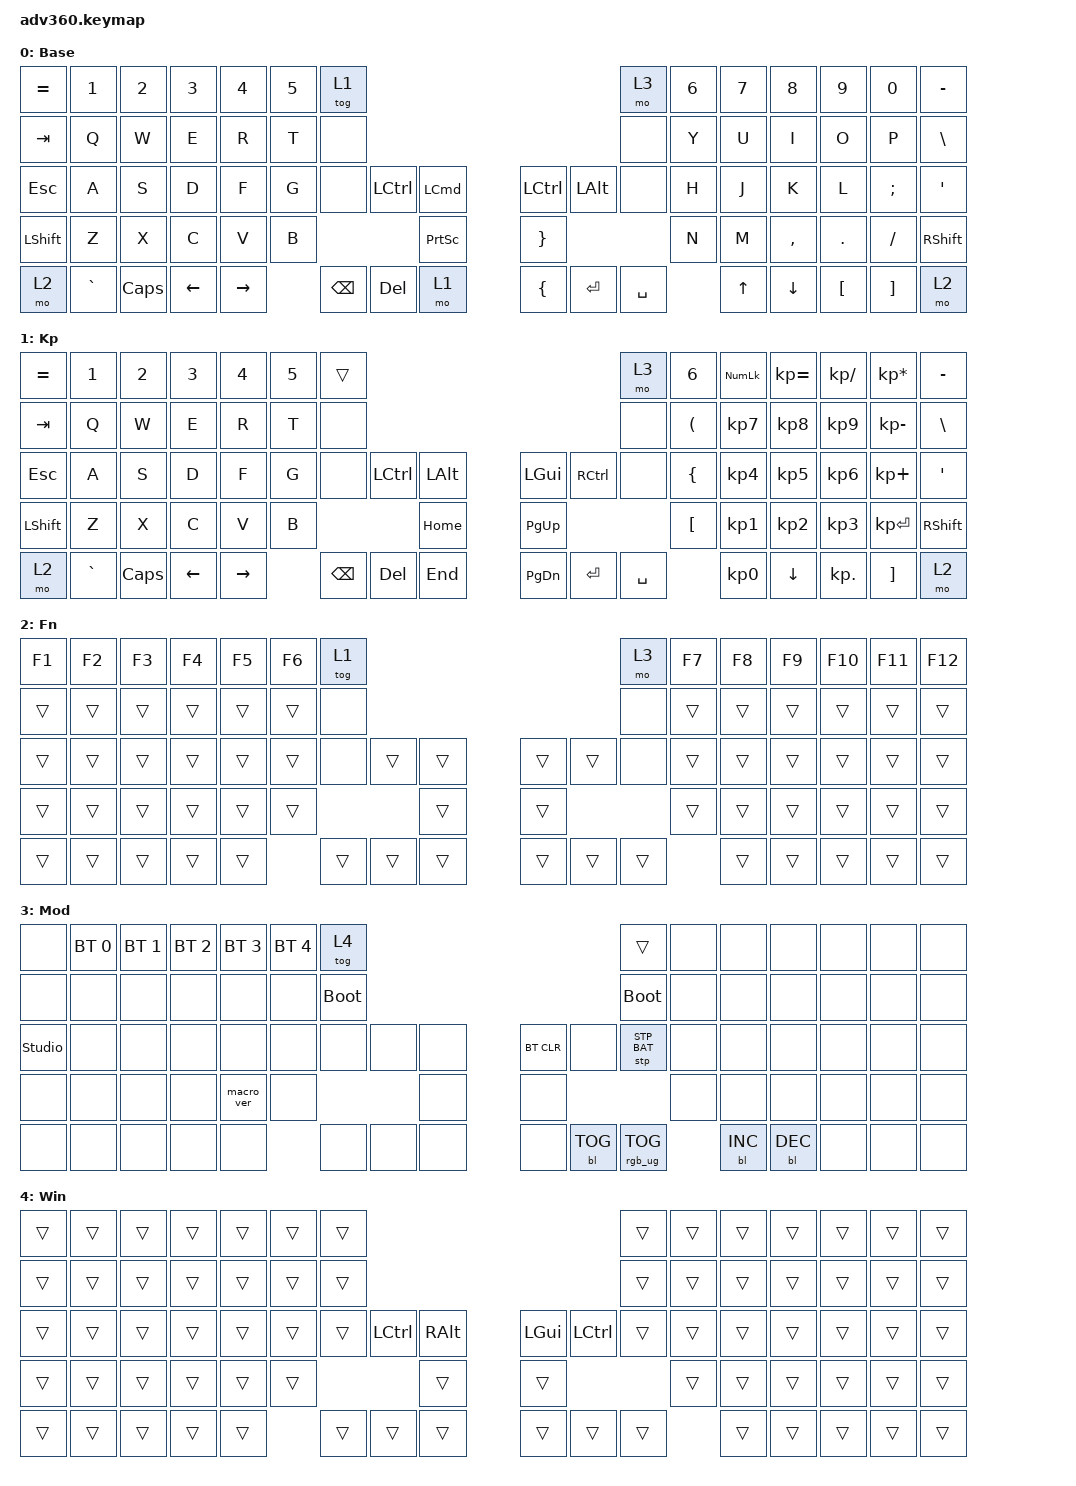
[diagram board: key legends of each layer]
#include <dt-bindings/zmk/stp.h>
#include <behaviors.dtsi>
#include <dt-bindings/zmk/backlight.h>
#include <dt-bindings/zmk/bt.h>
#include <dt-bindings/zmk/keys.h>
#include <dt-bindings/zmk/rgb.h>

/ {
    behaviors {
        #include "macros.dtsi"
      #include "version.dtsi"

        hm: homerow_mods {
            compatible = "zmk,behavior-hold-tap";
            label = "HOMEROW_MODS";
            #binding-cells = <2>;
            tapping-term-ms = <200>;
            quick_tap_ms = <175>;
            flavor = "tap-preferred";
            bindings = <&kp>, <&kp>;
        };
    };

    keymap {
        compatible = "zmk,keymap";

        default_layer {
            display-name = "Base";
            bindings = <
&kp EQUAL  &kp N1     &kp N2    &kp N3    &kp N4     &kp N5  &tog 1                                                                           &mo 3      &kp N6  &kp N7        &kp N8          &kp N9    &kp N0    &kp MINUS
&kp TAB    &kp Q      &kp W     &kp E     &kp R      &kp T   &none                                                                            &none      &kp Y   &kp U         &kp I           &kp O     &kp P     &kp BSLH
&kp ESC    &kp A      &kp S     &kp D     &kp F      &kp G   &none     &kp LEFT_CONTROL  &kp LEFT_COMMAND      &kp LCTRL        &kp LEFT_ALT  &none      &kp H   &kp J         &kp K           &kp L     &kp SEMI  &kp SQT
&kp LSHFT  &kp Z      &kp X     &kp C     &kp V      &kp B                               &kp PRINTSCREEN       &kp RIGHT_BRACE                           &kp N   &kp M         &kp COMMA       &kp DOT   &kp FSLH  &kp RSHFT
&mo 2      &kp GRAVE  &kp CAPS  &kp LEFT  &kp RIGHT          &kp BSPC  &kp DEL           &mo 1                 &kp LEFT_BRACE   &kp ENTER     &kp SPACE          &kp UP_ARROW  &kp DOWN_ARROW  &kp LBKT  &kp RBKT  &mo 2
            >;
        };

        keypad {
            display-name = "Kp";
            bindings = <
&kp EQUAL  &kp N1     &kp N2    &kp N3    &kp N4     &kp N5  &trans                                                   &mo 3      &kp N6                &kp KP_NUM  &kp KP_EQUAL  &kp KP_DIVIDE  &kp KP_MULTIPLY  &kp MINUS
&kp TAB    &kp Q      &kp W     &kp E     &kp R      &kp T   &none                                                    &none      &kp LEFT_PARENTHESIS  &kp KP_N7   &kp KP_N8     &kp KP_N9      &kp KP_MINUS     &kp BSLH
&kp ESC    &kp A      &kp S     &kp D     &kp F      &kp G   &none     &kp LCTRL  &kp LALT      &kp LGUI   &kp RCTRL  &none      &kp LEFT_BRACE        &kp KP_N4   &kp KP_N5     &kp KP_N6      &kp KP_PLUS      &kp SQT
&kp LSHFT  &kp Z      &kp X     &kp C     &kp V      &kp B                        &kp HOME      &kp PG_UP                        &kp LEFT_BRACKET      &kp KP_N1   &kp KP_N2     &kp KP_N3      &kp KP_ENTER     &kp RSHFT
&mo 2      &kp GRAVE  &kp CAPS  &kp LEFT  &kp RIGHT          &kp BSPC  &kp DEL    &kp END       &kp PG_DN  &kp ENTER  &kp SPACE                        &kp KP_N0   &kp DOWN      &kp KP_DOT     &kp RBKT         &mo 2
            >;
        };

        fn {
            display-name = "Fn";
            bindings = <
&kp F1  &kp F2  &kp F3  &kp F4  &kp F5  &kp F6  &tog 1                                      &mo 3   &kp F7  &kp F8  &kp F9  &kp F10  &kp F11  &kp F12
&trans  &trans  &trans  &trans  &trans  &trans  &none                                       &none   &trans  &trans  &trans  &trans   &trans   &trans
&trans  &trans  &trans  &trans  &trans  &trans  &none   &trans  &trans      &trans  &trans  &none   &trans  &trans  &trans  &trans   &trans   &trans
&trans  &trans  &trans  &trans  &trans  &trans                  &trans      &trans                  &trans  &trans  &trans  &trans   &trans   &trans
&trans  &trans  &trans  &trans  &trans          &trans  &trans  &trans      &trans  &trans  &trans          &trans  &trans  &trans   &trans   &trans
            >;
        };

        mod {
            display-name = "Mod";
            bindings = <
&none           &bt BT_SEL 0  &bt BT_SEL 1  &bt BT_SEL 2  &bt BT_SEL 3  &bt BT_SEL 4  &tog 4                                                 &trans           &none  &none       &none       &none  &none  &none
&none           &none         &none         &none         &none         &none         &bootloader                                            &bootloader      &none  &none       &none       &none  &none  &none
&studio_unlock  &none         &none         &none         &none         &none         &none        &none  &none      &bt BT_CLR  &none       &stp STP_BAT     &none  &none       &none       &none  &none  &none
&none           &none         &none         &none         &macro_ver    &none                             &none      &none                                    &none  &none       &none       &none  &none  &none
&none           &none         &none         &none         &none                       &none        &none  &none      &none       &bl BL_TOG  &rgb_ug RGB_TOG         &bl BL_INC  &bl BL_DEC  &none  &none  &none
            >;
        };

        windows_layer {
            display-name = "Win";
            bindings = <
&trans  &trans  &trans  &trans  &trans  &trans  &trans                                                                &trans  &trans  &trans  &trans  &trans  &trans  &trans
&trans  &trans  &trans  &trans  &trans  &trans  &trans                                                                &trans  &trans  &trans  &trans  &trans  &trans  &trans
&trans  &trans  &trans  &trans  &trans  &trans  &trans  &kp LEFT_CONTROL  &kp RIGHT_ALT      &kp LEFT_GUI  &kp LCTRL  &trans  &trans  &trans  &trans  &trans  &trans  &trans
&trans  &trans  &trans  &trans  &trans  &trans                            &trans             &trans                           &trans  &trans  &trans  &trans  &trans  &trans
&trans  &trans  &trans  &trans  &trans          &trans  &trans            &trans             &trans        &trans     &trans          &trans  &trans  &trans  &trans  &trans
            >;
        };

        extra2 {
            display-name = "Purple";
            status = "reserved";
        };

        extra3 {
            display-name = "Cyan";
            status = "reserved";
        };

        extra4 {
            display-name = "Yellow";
            status = "reserved";
        };
    };
};
